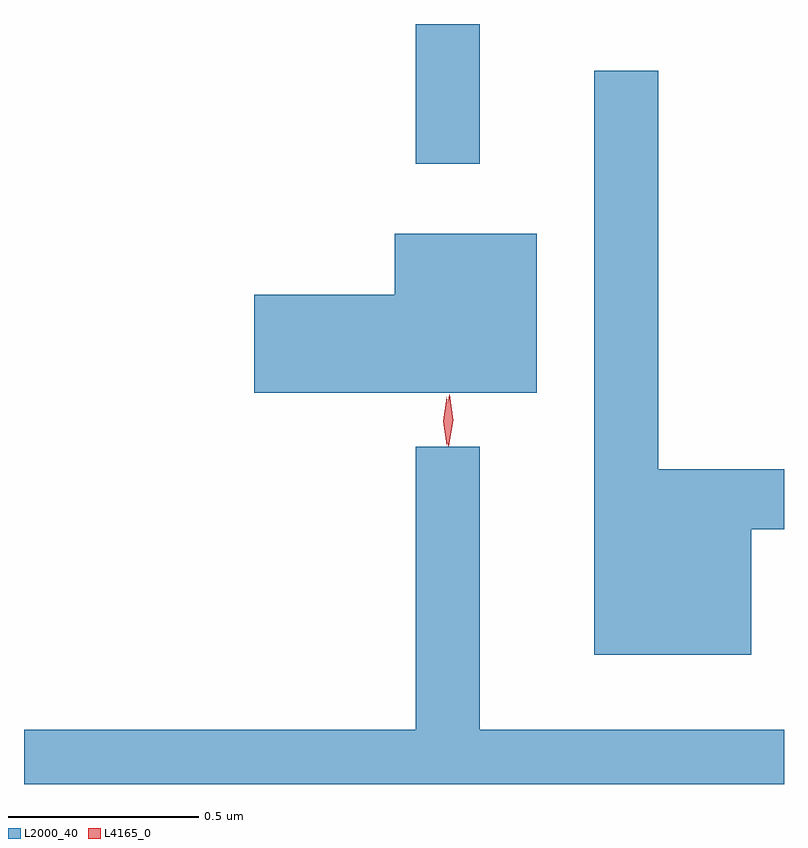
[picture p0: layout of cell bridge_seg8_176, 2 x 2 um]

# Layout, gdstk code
import gdstk
lib = gdstk.Library(unit=1e-6, precision=1e-09)
def R(c, l, rs):  # rectangles x0, y0, x1, y1
    for r in rs: c.add(gdstk.rectangle(r[:2], r[2:], *l))
def P(c, l, *ps):  # polygons
    for p in ps: c.add(gdstk.Polygon(p, *l))
L2000_40 = (2000, 40)
L4165_0 = (4165, 0)

bridge_seg8_176 = lib.new_cell('bridge_seg8_176')
R(bridge_seg8_176, L2000_40, [(1415.631,1942.513,1415.799,1942.881)])
P(bridge_seg8_176, L2000_40, [(1416.514,1941.551),(1416.6,1941.551),(1416.6,1941.709),(1416.269,1941.709),(1416.269,1942.758),(1416.101,1942.758),(1416.101,1941.221),(1416.514,1941.221)],
  [(1415.949,1942.329),(1415.576,1942.329),(1415.576,1942.169),(1415.206,1942.169),(1415.206,1941.911),(1415.949,1941.911)],
  [(1416.6,1941.024),(1415.799,1941.024),(1415.799,1941.768),(1415.631,1941.768),(1415.631,1941.024),(1414.6,1941.024),(1414.6,1940.881),(1416.6,1940.881)])
P(bridge_seg8_176, L4165_0, [(1415.717,1941.77),(1415.709,1941.838),(1415.719,1941.905),(1415.719,1941.906),(1415.72,1941.905),(1415.729,1941.838),(1415.718,1941.77),(1415.718,1941.77)],
  [(1415.712,1941.773),(1415.703,1941.836),(1415.712,1941.899),(1415.713,1941.9),(1415.713,1941.899),(1415.723,1941.836),(1415.713,1941.773),(1415.713,1941.773)])

lib.write_gds('bridge_seg8_176.gds')
